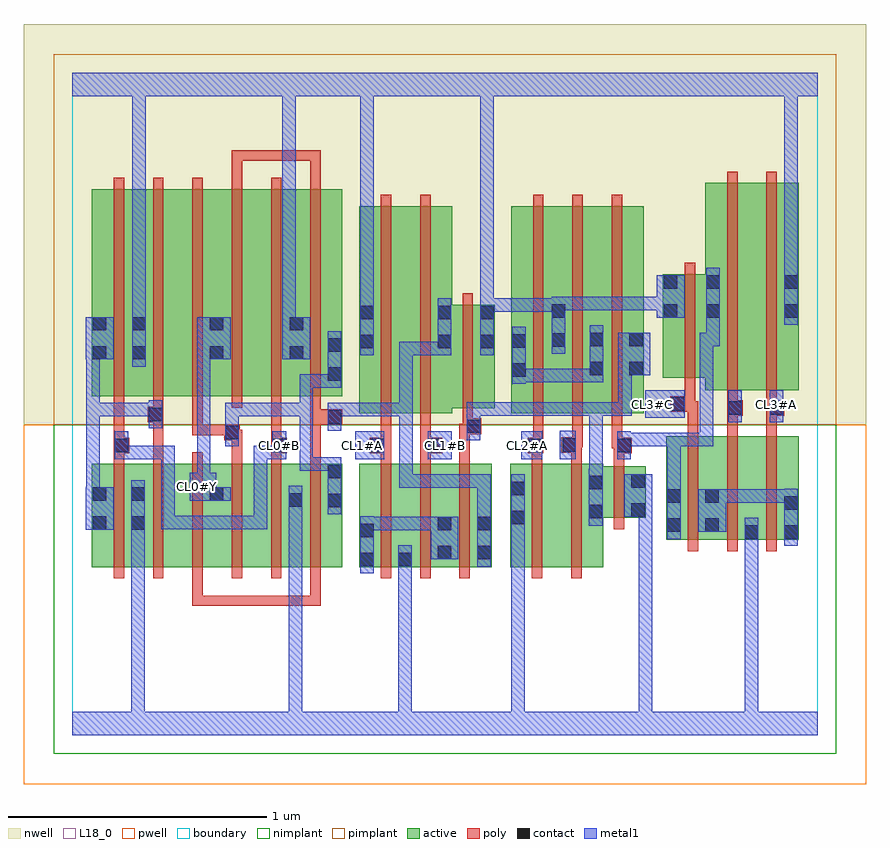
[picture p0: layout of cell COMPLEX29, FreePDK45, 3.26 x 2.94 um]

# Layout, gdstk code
import gdstk
lib = gdstk.Library(unit=1e-6, precision=1e-09)
def R(c, l, rs):  # rectangles x0, y0, x1, y1
    for r in rs: c.add(gdstk.rectangle(r[:2], r[2:], *l))
def A(c, l, x, y, w, h, nx, ny, dx, dy):  # array of equal rectangles
    R(c, l, [(x+i*dx, y+j*dy, x+i*dx+w, y+j*dy+h) for i in range(nx) for j in range(ny)])
active = (1, 0)
pwell = (2, 0)
nwell = (3, 0)
nimplant = (4, 0)
pimplant = (5, 0)
poly = (9, 0)
contact = (10, 0)
metal1 = (11, 0)
L18_0 = (18, 0)
boundary = (235, 0)

complex29 = lib.new_cell('COMPLEX29')
R(complex29, active, [(0.076,0.65,0.136,1.05), (0.076,0.65,0.284,1.05), (0.224,0.65,0.284,1.05), (0.224,0.65,0.408,1.05), (0.408,0.65,0.588,1.05), (0.528,0.65,0.712,1.05), (0.712,0.65,0.892,1.05), (0.832,0.65,1.044,1.05), (0.832,0.65,0.892,0.94), (0.984,0.65,1.044,1.05), (1.108,0.65,1.168,1.05), (1.108,0.65,1.316,1.05), (1.256,0.65,1.468,1.05), (1.256,0.65,1.316,0.764), (1.408,0.65,1.62,1.05), (1.56,0.65,1.62,1.05), (1.692,0.65,1.752,1.05), (1.692,0.65,1.872,1.05), (1.872,0.65,2.052,1.05), (1.408,0.676,1.468,0.848), (1.992,0.7,2.052,1.038), (0.528,0.756,0.588,0.962), (2.294,0.756,2.354,1.156), (2.294,0.756,2.502,1.156), (2.442,0.756,2.654,1.156), (2.442,0.756,2.502,0.954), (2.594,0.756,2.806,1.156), (2.594,0.756,2.654,0.816), (2.746,0.756,2.806,1.156), (1.992,0.84,2.216,1.04), (2.156,0.84,2.216,1.04), (1.108,1.244,1.288,2.044), (1.108,1.244,1.168,2.044), (1.288,1.244,1.468,2.044), (1.696,1.244,1.756,2.044), (1.696,1.244,1.908,2.044), (1.848,1.244,1.908,2.044), (1.848,1.244,2.056,2.044), (1.996,1.244,2.056,2.044), (1.996,1.244,2.208,2.044), (2.148,1.244,2.208,2.044), (1.408,1.264,1.632,1.664), (1.572,1.264,1.632,1.664), (0.076,1.31,0.288,2.11), (0.076,1.31,0.136,2.044), (0.228,1.31,0.408,2.11), (0.408,1.31,0.588,2.11), (0.528,1.31,0.712,2.11), (0.712,1.31,0.896,2.11), (0.836,1.31,1.044,2.11), (0.984,1.31,1.044,2.044), (2.446,1.334,2.626,2.134), (2.626,1.334,2.806,2.134), (2.746,1.334,2.806,2.044), (0.228,1.338,0.288,2.11), (0.528,1.338,0.588,2.11), (1.408,1.338,1.468,1.716), (2.282,1.382,2.342,1.782), (2.282,1.382,2.506,1.782), (2.446,1.382,2.506,1.82), (0.836,1.448,0.896,2.044)])
R(complex29, pwell, [(-0.188,-0.188,3.068,1.2)])
R(complex29, nwell, [(-0.188,1.2,3.068,2.748)])
R(complex29, nimplant, [(-0.072,-0.072,2.952,1.2)])
R(complex29, pimplant, [(-0.072,1.2,2.952,2.632)])
A(complex29, poly, 0.16, 0.606, 0.04, 0.488, 6, 1, 0.152, 0)
A(complex29, poly, 1.192, 0.606, 0.04, 0.488, 3, 1, 0.152, 0)
A(complex29, poly, 2.378, 0.712, 0.04, 0.488, 3, 1, 0.152, 0)
A(complex29, poly, 1.78, 1.2, 0.04, 0.888, 3, 1, 0.152, 0)
A(complex29, poly, 0.16, 1.266, 0.04, 0.888, 6, 1, 0.152, 0)
R(complex29, poly, [(0.464,0.5,0.504,0.54), (0.464,0.5,0.504,0.54), (0.464,0.5,0.504,0.54), (0.464,0.5,0.504,0.646), (0.464,0.5,0.702,0.54), (0.662,0.5,0.702,0.54), (0.662,0.5,0.808,0.54), (0.768,0.5,0.808,0.54), (0.768,0.5,0.808,0.54), (0.768,0.5,0.808,0.54), (0.768,0.5,0.96,0.54), (0.92,0.5,0.96,0.54), (0.92,0.5,0.96,0.54), (0.92,0.5,0.96,0.54), (0.92,0.5,0.96,0.646), (1.776,0.606,1.816,1.094), (1.928,0.606,1.968,1.094), (2.092,0.796,2.132,1.084), (2.092,1.044,2.132,1.13), (0.16,1.054,0.2,1.13), (0.312,1.054,0.352,1.25), (0.616,1.054,0.656,1.18), (0.768,1.054,0.808,1.13), (0.92,1.054,0.96,1.24), (1.192,1.054,1.232,1.13), (1.344,1.054,1.384,1.13), (1.496,1.054,1.536,1.204), (1.776,1.054,1.816,1.13), (1.928,1.054,1.968,1.132), (0.16,1.09,0.22,1.15), (0.768,1.09,0.828,1.15), (1.15,1.09,1.232,1.15), (1.344,1.09,1.384,1.13), (1.344,1.09,1.384,1.13), (1.344,1.09,1.43,1.15), (1.76,1.09,1.82,1.15), (2.092,1.09,2.162,1.15), (1.89,1.092,1.968,1.152), (0.16,1.11,0.2,1.15), (0.16,1.11,0.2,1.15), (0.16,1.11,0.2,1.306), (0.768,1.11,0.808,1.15), (0.768,1.11,0.808,1.15), (0.768,1.11,0.808,1.306), (1.192,1.11,1.232,1.15), (1.192,1.11,1.232,1.15), (1.192,1.11,1.232,1.24), (1.344,1.11,1.384,1.24), (1.78,1.11,1.82,1.15), (1.78,1.11,1.82,1.15), (1.78,1.11,1.82,1.24), (2.084,1.11,2.124,1.24), (2.084,1.11,2.132,1.15), (2.092,1.11,2.132,1.15), (1.928,1.112,1.968,1.152), (1.928,1.112,1.972,1.152), (1.932,1.112,1.972,1.24), (0.588,1.14,0.648,1.2), (0.608,1.14,0.648,1.18), (0.608,1.14,0.656,1.18), (0.464,1.16,0.504,1.2), (0.464,1.16,0.504,1.2), (0.464,1.16,0.504,1.2), (0.464,1.16,0.504,1.306), (0.464,1.16,0.628,1.2), (2.378,1.16,2.418,1.29), (2.53,1.16,2.57,1.274), (2.682,1.16,2.722,1.274), (1.496,1.164,1.548,1.204), (1.508,1.164,1.548,1.204), (1.508,1.164,1.58,1.224), (1.508,1.184,1.548,1.26), (0.92,1.2,0.96,1.24), (0.92,1.2,0.96,1.24), (0.92,1.2,1.044,1.26), (1.192,1.2,1.232,2.088), (1.344,1.2,1.384,2.088), (0.292,1.21,0.352,1.27), (0.312,1.21,0.352,1.25), (0.312,1.21,0.352,1.25), (0.92,1.22,0.96,1.306), (1.508,1.22,1.548,1.708), (0.312,1.23,0.352,1.306), (2.53,1.234,2.59,1.294), (2.682,1.234,2.722,1.274), (2.682,1.234,2.722,1.274), (2.682,1.234,2.75,1.294), (2.31,1.25,2.406,1.31), (2.366,1.25,2.406,1.29), (2.366,1.25,2.418,1.29), (2.53,1.254,2.57,1.33), (2.53,1.254,2.57,1.294), (2.53,1.254,2.57,1.294), (2.682,1.254,2.722,1.33), (2.366,1.27,2.406,1.378), (2.53,1.29,2.57,2.178), (2.682,1.29,2.722,2.178), (2.366,1.338,2.406,1.826), (0.616,2.114,0.656,2.26), (0.92,2.114,0.96,2.26), (0.616,2.22,0.656,2.26), (0.616,2.22,0.656,2.26), (0.616,2.22,0.656,2.26), (0.616,2.22,0.854,2.26), (0.814,2.22,0.854,2.26), (0.814,2.22,0.96,2.26), (0.92,2.22,0.96,2.26), (0.92,2.22,0.96,2.26), (0.92,2.22,0.96,2.26)])
R(complex29, contact, [(1.112,0.654,1.164,0.706), (1.26,0.654,1.312,0.706), (1.412,0.68,1.464,0.732), (1.564,0.68,1.616,0.732), (2.598,0.76,2.65,0.812), (2.75,0.76,2.802,0.812), (1.112,0.766,1.164,0.818), (2.298,0.786,2.35,0.838), (2.446,0.786,2.498,0.838), (1.412,0.792,1.464,0.844), (1.564,0.792,1.616,0.844), (0.08,0.794,0.132,0.846), (0.228,0.794,0.28,0.846), (1.696,0.816,1.748,0.868), (1.996,0.838,2.048,0.89), (2.16,0.844,2.212,0.896), (2.75,0.872,2.802,0.924), (0.988,0.882,1.04,0.934), (0.836,0.884,0.888,0.936), (2.298,0.898,2.35,0.95), (2.446,0.898,2.498,0.95), (0.08,0.906,0.132,0.958), (0.228,0.906,0.28,0.958), (0.532,0.906,0.584,0.958), (1.696,0.928,1.748,0.98), (1.996,0.95,2.048,1.002), (2.16,0.956,2.212,1.008), (0.988,0.994,1.04,1.046), (0.164,1.094,0.216,1.146), (0.772,1.094,0.824,1.146), (1.154,1.094,1.206,1.146), (1.374,1.094,1.426,1.146), (1.764,1.094,1.816,1.146), (2.106,1.094,2.158,1.146), (1.894,1.096,1.946,1.148), (0.592,1.144,0.644,1.196), (1.524,1.168,1.576,1.22), (0.988,1.204,1.04,1.256), (0.296,1.214,0.348,1.266), (2.534,1.238,2.586,1.29), (2.694,1.238,2.746,1.29), (2.314,1.254,2.366,1.306), (0.988,1.37,1.04,1.422), (1.7,1.386,1.752,1.438), (2,1.392,2.052,1.444), (2.152,1.392,2.204,1.444), (0.08,1.452,0.132,1.504), (0.232,1.452,0.284,1.504), (0.532,1.452,0.584,1.504), (0.84,1.452,0.892,1.504), (0.988,1.482,1.04,1.534), (1.112,1.496,1.164,1.548), (1.412,1.496,1.464,1.548), (1.576,1.496,1.628,1.548), (1.7,1.498,1.752,1.55), (1.852,1.502,1.904,1.554), (2,1.504,2.052,1.556), (2.152,1.504,2.204,1.556), (0.08,1.564,0.132,1.616), (0.232,1.564,0.284,1.616), (0.532,1.564,0.584,1.616), (0.84,1.564,0.892,1.616), (1.112,1.608,1.164,1.66), (1.412,1.608,1.464,1.66), (1.576,1.608,1.628,1.66), (1.852,1.614,1.904,1.666), (2.286,1.614,2.338,1.666), (2.45,1.614,2.502,1.666), (2.75,1.614,2.802,1.666), (2.286,1.726,2.338,1.778), (2.45,1.726,2.502,1.778), (2.75,1.726,2.802,1.778)])
R(complex29, metal1, [(0,0,2.88,0.092), (0.228,0.04,0.28,0.092), (0.228,0.04,0.28,0.092), (0.228,0.04,0.28,0.092), (0.228,0.04,0.28,0.092), (0.228,0.04,0.28,0.092), (0.228,0.04,0.28,0.092), (0.228,0.04,0.28,0.092), (0.228,0.04,0.28,0.092), (0.228,0.04,0.28,0.818), (0.836,0.04,0.888,0.092), (0.836,0.04,0.888,0.092), (0.836,0.04,0.888,0.092), (0.836,0.04,0.888,0.092), (0.836,0.04,0.888,0.092), (0.836,0.04,0.888,0.092), (0.836,0.04,0.888,0.908), (1.26,0.04,1.312,0.678), (1.696,0.04,1.748,0.092), (1.696,0.04,1.748,0.092), (1.696,0.04,1.748,0.84), (2.188,0.04,2.24,0.092), (2.188,0.04,2.24,0.092), (2.188,0.04,2.24,0.896), (2.598,0.04,2.65,0.092), (2.598,0.04,2.65,0.092), (2.598,0.04,2.65,0.092), (2.598,0.04,2.65,0.092), (2.598,0.04,2.65,0.092), (2.598,0.04,2.65,0.092), (2.598,0.04,2.65,0.092), (2.598,0.04,2.65,0.092), (2.598,0.04,2.65,0.092), (2.598,0.04,2.65,0.092), (2.598,0.04,2.65,0.092), (2.598,0.04,2.65,0.092), (2.598,0.04,2.65,0.784), (1.112,0.626,1.164,0.846), (1.26,0.626,1.312,0.678), (1.26,0.626,1.312,0.678), (1.26,0.626,1.312,0.678), (1.26,0.626,1.312,0.678), (1.26,0.626,1.312,0.678), (1.26,0.626,1.312,0.678), (1.26,0.626,1.312,0.678), (1.26,0.626,1.312,0.678), (1.26,0.626,1.312,0.678), (1.26,0.626,1.312,0.678), (1.26,0.626,1.312,0.678), (1.26,0.626,1.312,0.678), (1.26,0.626,1.312,0.734), (1.564,0.652,1.616,0.872), (1.384,0.68,1.492,0.844), (2.598,0.732,2.65,0.84), (2.75,0.732,2.802,0.952), (2.298,0.758,2.35,0.978), (0.228,0.766,0.28,0.818), (0.228,0.766,0.28,0.818), (0.228,0.766,0.28,0.818), (0.228,0.766,0.28,0.818), (0.228,0.766,0.28,0.986), (2.418,0.786,2.526,0.95), (1.696,0.788,1.748,0.84), (1.696,0.788,1.748,0.84), (1.696,0.788,1.748,0.84), (1.696,0.788,1.748,0.84), (1.696,0.788,1.748,0.84), (1.696,0.788,1.748,0.84), (1.696,0.788,1.748,0.84), (1.696,0.788,1.748,0.84), (1.696,0.788,1.748,0.84), (1.696,0.788,1.748,0.84), (1.696,0.788,1.748,1.008), (1.112,0.792,1.164,0.844), (1.112,0.792,1.164,0.844), (1.112,0.792,1.326,0.844), (1.274,0.792,1.326,0.844), (1.274,0.792,1.326,0.844), (1.274,0.792,1.326,0.844), (1.274,0.792,1.436,0.844), (0.052,0.794,0.16,0.958), (0.344,0.796,0.396,0.848), (0.344,0.796,0.396,1.118), (0.344,0.796,0.534,0.848), (0.482,0.796,0.534,0.848), (0.482,0.796,0.534,0.848), (0.482,0.796,0.534,0.848), (0.482,0.796,0.714,0.848), (0.662,0.796,0.714,0.848), (0.662,0.796,0.754,0.848), (0.702,0.796,0.754,0.848), (0.702,0.796,0.754,1.118), (1.996,0.81,2.05,1.03), (1.564,0.82,1.616,1.008), (2.132,0.844,2.24,1.008), (2.188,0.844,2.24,0.896), (2.188,0.844,2.24,0.896), (2.188,0.844,2.24,0.896), (2.188,0.844,2.24,0.896), (2.188,0.844,2.24,0.896), (2.188,0.844,2.24,0.896), (2.188,0.844,2.24,0.896), (2.188,0.844,2.24,0.896), (2.188,0.844,2.24,0.896), (2.188,0.844,2.24,0.896), (2.188,0.844,2.24,0.896), (2.188,0.844,2.24,0.896), (2.188,0.844,2.24,0.896), (2.188,0.844,2.24,0.896), (0.988,0.854,1.04,1.074), (0.836,0.856,0.888,0.908), (0.836,0.856,0.888,0.908), (0.836,0.856,0.888,0.908), (0.836,0.856,0.888,0.908), (0.836,0.856,0.888,0.908), (0.836,0.856,0.888,0.908), (0.836,0.856,0.888,0.964), (2.474,0.898,2.636,0.95), (2.584,0.898,2.636,0.95), (2.584,0.898,2.636,0.95), (2.584,0.898,2.636,0.95), (2.584,0.898,2.802,0.95), (2.75,0.898,2.802,0.95), (2.75,0.898,2.802,0.95), (0.054,0.906,0.106,1.284), (0.454,0.906,0.556,1.014), (0.504,0.906,0.556,0.958), (0.504,0.906,0.612,0.958), (2.298,0.926,2.35,1.168), (1.264,0.956,1.316,1.008), (1.264,0.956,1.316,1.008), (1.264,0.956,1.316,1.008), (1.264,0.956,1.466,1.008), (1.264,0.956,1.316,1.284), (1.414,0.956,1.466,1.008), (1.414,0.956,1.466,1.008), (1.414,0.956,1.466,1.008), (1.414,0.956,1.616,1.008), (1.564,0.956,1.616,1.008), (0.482,0.962,0.534,1.014), (0.482,0.962,0.534,1.014), (0.482,0.962,0.534,1.504), (1.998,0.978,2.05,1.03), (1.998,0.978,2.05,1.03), (1.998,0.978,2.05,1.286), (0.878,1.022,0.93,1.074), (0.878,1.022,1.04,1.074), (0.878,1.022,0.93,1.284), (0.988,1.022,1.04,1.074), (0.988,1.022,1.04,1.074), (0.164,1.066,0.216,1.118), (0.164,1.066,0.216,1.118), (0.164,1.066,0.216,1.174), (0.164,1.066,0.396,1.118), (0.344,1.066,0.396,1.118), (0.344,1.066,0.396,1.118), (0.344,1.066,0.396,1.118), (0.344,1.066,0.396,1.118), (0.344,1.066,0.396,1.118), (0.702,1.066,0.754,1.118), (0.702,1.066,0.754,1.118), (0.702,1.066,0.754,1.118), (0.702,1.066,0.824,1.118), (0.772,1.066,0.826,1.174), (1.094,1.066,1.206,1.174), (1.374,1.066,1.466,1.174), (1.734,1.066,1.816,1.174), (1.884,1.066,1.946,1.176), (2.106,1.066,2.158,1.174), (0.592,1.116,0.644,1.228), (2.106,1.116,2.158,1.168), (2.106,1.116,2.158,1.168), (2.106,1.116,2.35,1.168), (2.298,1.116,2.35,1.168), (2.298,1.116,2.35,1.168), (2.298,1.116,2.35,1.168), (2.298,1.116,2.476,1.168), (2.424,1.116,2.476,1.168), (2.424,1.116,2.476,1.556), (1.524,1.14,1.576,1.248), (0.592,1.176,0.644,1.228), (0.592,1.176,0.644,1.284), (0.988,1.176,1.04,1.284), (0.296,1.186,0.348,1.294), (1.524,1.196,1.576,1.248), (1.524,1.196,1.576,1.286), (2.534,1.21,2.586,1.334), (2.694,1.21,2.746,1.334), (2.214,1.226,2.366,1.334), (0.054,1.232,0.106,1.284), (0.054,1.232,0.106,1.284), (0.054,1.232,0.106,1.284), (0.054,1.232,0.238,1.284), (0.054,1.232,0.106,1.504), (0.186,1.232,0.238,1.284), (0.186,1.232,0.238,1.284), (0.186,1.232,0.238,1.284), (0.186,1.232,0.348,1.284), (0.592,1.232,0.826,1.284), (0.774,1.232,0.826,1.284), (0.774,1.232,0.93,1.284), (0.878,1.232,0.93,1.284), (0.878,1.232,0.93,1.284), (0.878,1.232,0.93,1.284), (0.878,1.232,0.93,1.394), (0.988,1.232,1.04,1.284), (0.988,1.232,1.04,1.284), (0.988,1.232,1.15,1.284), (1.098,1.232,1.15,1.284), (1.098,1.232,1.15,1.284), (1.098,1.232,1.15,1.284), (1.098,1.232,1.316,1.284), (1.264,1.232,1.316,1.284), (1.264,1.232,1.316,1.52), (1.524,1.234,1.794,1.286), (1.742,1.234,1.794,1.286), (1.742,1.234,1.794,1.286), (1.742,1.234,1.794,1.286), (1.742,1.234,1.936,1.286), (1.884,1.234,1.936,1.286), (1.884,1.234,1.936,1.286), (1.884,1.234,1.936,1.286), (1.884,1.234,2.05,1.286), (1.998,1.234,2.05,1.286), (1.998,1.234,2.156,1.286), (2.104,1.234,2.156,1.286), (2.104,1.234,2.162,1.286), (2.11,1.234,2.162,1.286), (2.11,1.234,2.162,1.444), (0.878,1.342,0.93,1.394), (0.878,1.342,0.936,1.394), (0.884,1.342,0.936,1.394), (0.884,1.342,1.04,1.394), (0.988,1.342,1.04,1.562), (1.7,1.358,1.752,1.578), (1.7,1.364,1.752,1.416), (1.7,1.364,1.752,1.416), (1.7,1.364,1.936,1.416), (1.884,1.364,1.936,1.416), (1.884,1.364,1.936,1.416), (1.884,1.364,1.936,1.416), (1.884,1.364,2.052,1.416), (2,1.364,2.052,1.584), (2.11,1.392,2.232,1.556), (0.232,1.424,0.284,1.644), (0.052,1.452,0.16,1.616), (0.482,1.452,0.612,1.616), (0.812,1.452,0.92,1.616), (1.112,1.468,1.164,1.688), (1.264,1.468,1.316,1.52), (1.264,1.468,1.316,1.52), (1.264,1.468,1.316,1.52), (1.264,1.468,1.464,1.52), (1.412,1.468,1.464,1.688), (1.576,1.468,1.628,1.688), (1.852,1.474,1.904,1.694), (2.424,1.504,2.502,1.556), (2.45,1.504,2.502,1.638), (0.812,1.564,0.864,1.616), (0.812,1.564,0.864,1.616), (0.812,1.564,0.864,2.52), (2.45,1.586,2.502,1.806), (2.75,1.586,2.802,1.806), (0.232,1.592,0.284,1.644), (0.232,1.592,0.284,1.644), (0.232,1.592,0.284,1.644), (0.232,1.592,0.284,1.644), (0.232,1.592,0.284,2.52), (2.258,1.614,2.366,1.778), (1.112,1.636,1.164,1.688), (1.112,1.636,1.164,1.688), (1.112,1.636,1.164,1.688), (1.112,1.636,1.164,1.688), (1.112,1.636,1.164,1.688), (1.112,1.636,1.164,1.688), (1.112,1.636,1.164,1.688), (1.112,1.636,1.164,1.688), (1.112,1.636,1.164,2.52), (1.576,1.636,1.628,1.688), (1.576,1.636,1.628,1.688), (1.576,1.636,1.628,1.688), (1.576,1.636,1.628,1.688), (1.576,1.636,1.628,1.688), (1.576,1.636,1.628,1.688), (1.576,1.636,1.628,1.688), (1.576,1.636,1.628,1.688), (1.576,1.636,1.628,1.688), (1.576,1.636,1.628,1.688), (1.576,1.636,1.628,1.688), (1.576,1.636,1.628,1.688), (1.576,1.636,1.628,1.688), (1.576,1.636,1.628,1.688), (1.576,1.636,1.738,1.688), (1.576,1.636,1.628,2.52), (1.686,1.636,1.738,1.688), (1.686,1.636,1.738,1.688), (1.686,1.636,1.738,1.688), (1.686,1.636,1.904,1.688), (1.852,1.642,2.046,1.694), (1.994,1.642,2.046,1.694), (1.994,1.642,2.046,1.694), (1.994,1.642,2.046,1.694), (1.994,1.642,2.158,1.694), (2.106,1.642,2.158,1.694), (2.106,1.642,2.158,1.694), (2.106,1.642,2.158,1.694), (2.106,1.642,2.31,1.694), (2.75,1.754,2.802,2.52), (2.75,1.754,2.802,1.806), (2.75,1.754,2.802,1.806), (2.75,1.754,2.802,1.806), (2.75,1.754,2.802,1.806), (2.75,1.754,2.802,1.806), (2.75,1.754,2.802,1.806), (0,2.468,2.88,2.56), (0.232,2.468,0.284,2.52), (0.232,2.468,0.284,2.52), (0.232,2.468,0.284,2.52), (0.232,2.468,0.284,2.52), (0.812,2.468,0.864,2.52), (0.812,2.468,0.864,2.52), (0.812,2.468,0.864,2.52), (0.812,2.468,0.864,2.52), (0.812,2.468,0.864,2.52), (0.812,2.468,0.864,2.52), (1.576,2.468,1.628,2.52), (1.576,2.468,1.628,2.52), (2.75,2.468,2.802,2.52), (2.75,2.468,2.802,2.52)])
A(complex29, L18_0, 0.774, 1.094, 0.052, 0.052, 4, 1, 0.32, 0)
R(complex29, L18_0, [(0,0,2.88,0.092), (0.228,0.04,0.28,0.092), (0.228,0.04,0.28,0.092), (0.228,0.04,0.28,0.092), (0.228,0.04,0.28,0.092), (0.228,0.04,0.28,0.092), (0.228,0.04,0.28,0.092), (0.228,0.04,0.28,0.092), (0.228,0.04,0.28,0.092), (0.228,0.04,0.28,0.818), (0.836,0.04,0.888,0.092), (0.836,0.04,0.888,0.092), (0.836,0.04,0.888,0.092), (0.836,0.04,0.888,0.092), (0.836,0.04,0.888,0.092), (0.836,0.04,0.888,0.092), (0.836,0.04,0.888,0.908), (1.26,0.04,1.312,0.678), (1.696,0.04,1.748,0.092), (1.696,0.04,1.748,0.092), (1.696,0.04,1.748,0.84), (2.188,0.04,2.24,0.092), (2.188,0.04,2.24,0.092), (2.188,0.04,2.24,0.896), (2.598,0.04,2.65,0.092), (2.598,0.04,2.65,0.092), (2.598,0.04,2.65,0.092), (2.598,0.04,2.65,0.092), (2.598,0.04,2.65,0.092), (2.598,0.04,2.65,0.092), (2.598,0.04,2.65,0.092), (2.598,0.04,2.65,0.092), (2.598,0.04,2.65,0.092), (2.598,0.04,2.65,0.092), (2.598,0.04,2.65,0.092), (2.598,0.04,2.65,0.092), (2.598,0.04,2.65,0.784), (1.26,0.626,1.312,0.734), (1.26,0.626,1.312,0.678), (1.26,0.626,1.312,0.678), (1.26,0.626,1.312,0.678), (1.26,0.626,1.312,0.678), (1.26,0.626,1.312,0.678), (1.26,0.626,1.312,0.678), (1.26,0.626,1.312,0.678), (1.26,0.626,1.312,0.678), (1.26,0.626,1.312,0.678), (1.26,0.626,1.312,0.678), (1.26,0.626,1.312,0.678), (1.26,0.626,1.312,0.678), (2.598,0.732,2.65,0.84), (0.228,0.766,0.28,0.818), (0.228,0.766,0.28,0.818), (0.228,0.766,0.28,0.818), (0.228,0.766,0.28,0.818), (0.228,0.766,0.28,0.986), (1.696,0.788,1.748,0.84), (1.696,0.788,1.748,0.84), (1.696,0.788,1.748,0.84), (1.696,0.788,1.748,0.84), (1.696,0.788,1.748,0.84), (1.696,0.788,1.748,0.84), (1.696,0.788,1.748,0.84), (1.696,0.788,1.748,0.84), (1.696,0.788,1.748,0.84), (1.696,0.788,1.748,0.84), (1.696,0.788,1.748,1.008), (0.344,0.796,0.396,0.848), (0.344,0.796,0.396,1.118), (0.344,0.796,0.534,0.848), (0.482,0.796,0.534,0.848), (0.482,0.796,0.534,0.848), (0.482,0.796,0.534,0.848), (0.482,0.796,0.714,0.848), (0.662,0.796,0.714,0.848), (0.662,0.796,0.754,0.848), (0.702,0.796,0.754,0.848), (0.702,0.796,0.754,1.118), (2.132,0.844,2.24,1.008), (2.188,0.844,2.24,0.896), (2.188,0.844,2.24,0.896), (2.188,0.844,2.24,0.896), (2.188,0.844,2.24,0.896), (2.188,0.844,2.24,0.896), (2.188,0.844,2.24,0.896), (2.188,0.844,2.24,0.896), (2.188,0.844,2.24,0.896), (2.188,0.844,2.24,0.896), (2.188,0.844,2.24,0.896), (2.188,0.844,2.24,0.896), (2.188,0.844,2.24,0.896), (2.188,0.844,2.24,0.896), (2.188,0.844,2.24,0.896), (0.836,0.856,0.888,0.964), (0.836,0.856,0.888,0.908), (0.836,0.856,0.888,0.908), (0.836,0.856,0.888,0.908), (0.836,0.856,0.888,0.908), (0.836,0.856,0.888,0.908), (0.836,0.856,0.888,0.908), (0.454,0.906,0.556,1.014), (0.504,0.906,0.556,0.958), (0.504,0.906,0.612,0.958), (0.454,0.934,0.506,0.986), (0.482,0.962,0.534,1.014), (0.482,0.962,0.534,1.014), (0.482,0.962,0.534,1.504), (0.164,1.066,0.216,1.174), (0.164,1.066,0.216,1.118), (0.164,1.066,0.216,1.118), (0.164,1.066,0.396,1.118), (0.344,1.066,0.396,1.118), (0.344,1.066,0.396,1.118), (0.344,1.066,0.396,1.118), (0.344,1.066,0.396,1.118), (0.344,1.066,0.396,1.118), (0.702,1.066,0.754,1.118), (0.702,1.066,0.754,1.118), (0.702,1.066,0.754,1.118), (0.702,1.066,0.824,1.118), (0.772,1.066,0.826,1.174), (1.094,1.066,1.206,1.174), (1.374,1.066,1.466,1.174), (1.734,1.066,1.816,1.174), (1.884,1.066,1.946,1.176), (1.894,1.094,1.946,1.146), (2.534,1.21,2.586,1.334), (2.694,1.21,2.746,1.334), (2.214,1.226,2.366,1.334), (2.214,1.254,2.266,1.306), (2.534,1.254,2.586,1.306), (2.694,1.254,2.746,1.306), (0.232,1.424,0.284,1.644), (0.482,1.452,0.612,1.616), (0.812,1.452,0.92,1.616), (1.112,1.468,1.164,1.688), (1.576,1.468,1.628,1.688), (1.852,1.474,1.904,1.694), (0.812,1.564,0.864,1.616), (0.812,1.564,0.864,1.616), (0.812,1.564,0.864,2.52), (2.75,1.586,2.802,1.806), (0.232,1.592,0.284,1.644), (0.232,1.592,0.284,1.644), (0.232,1.592,0.284,1.644), (0.232,1.592,0.284,1.644), (0.232,1.592,0.284,2.52), (2.258,1.614,2.366,1.778), (1.112,1.636,1.164,1.688), (1.112,1.636,1.164,1.688), (1.112,1.636,1.164,1.688), (1.112,1.636,1.164,1.688), (1.112,1.636,1.164,1.688), (1.112,1.636,1.164,1.688), (1.112,1.636,1.164,1.688), (1.112,1.636,1.164,1.688), (1.112,1.636,1.164,2.52), (1.576,1.636,1.628,1.688), (1.576,1.636,1.628,1.688), (1.576,1.636,1.628,1.688), (1.576,1.636,1.628,1.688), (1.576,1.636,1.628,1.688), (1.576,1.636,1.628,1.688), (1.576,1.636,1.628,1.688), (1.576,1.636,1.628,1.688), (1.576,1.636,1.628,1.688), (1.576,1.636,1.628,1.688), (1.576,1.636,1.628,1.688), (1.576,1.636,1.628,1.688), (1.576,1.636,1.628,1.688), (1.576,1.636,1.628,1.688), (1.576,1.636,1.628,2.52), (1.576,1.636,1.738,1.688), (1.686,1.636,1.738,1.688), (1.686,1.636,1.738,1.688), (1.686,1.636,1.738,1.688), (1.686,1.636,1.904,1.688), (1.852,1.642,2.046,1.694), (1.994,1.642,2.046,1.694), (1.994,1.642,2.046,1.694), (1.994,1.642,2.046,1.694), (1.994,1.642,2.158,1.694), (2.106,1.642,2.158,1.694), (2.106,1.642,2.158,1.694), (2.106,1.642,2.158,1.694), (2.106,1.642,2.31,1.694), (2.75,1.754,2.802,1.806), (2.75,1.754,2.802,1.806), (2.75,1.754,2.802,1.806), (2.75,1.754,2.802,1.806), (2.75,1.754,2.802,1.806), (2.75,1.754,2.802,1.806), (2.75,1.754,2.802,2.52), (0,2.468,2.88,2.56), (0.232,2.468,0.284,2.52), (0.232,2.468,0.284,2.52), (0.232,2.468,0.284,2.52), (0.232,2.468,0.284,2.52), (0.812,2.468,0.864,2.52), (0.812,2.468,0.864,2.52), (0.812,2.468,0.864,2.52), (0.812,2.468,0.864,2.52), (0.812,2.468,0.864,2.52), (0.812,2.468,0.864,2.52), (1.576,2.468,1.628,2.52), (1.576,2.468,1.628,2.52), (2.75,2.468,2.802,2.52), (2.75,2.468,2.802,2.52)])
R(complex29, boundary, [(0,0,2.88,2.56)])
complex29.add(gdstk.Label('CL0#B', (0.8,1.12), layer=11, texttype=0))
complex29.add(gdstk.Label('CL0#Y', (0.48,0.96), layer=11, texttype=0))
complex29.add(gdstk.Label('CL1#A', (1.12,1.12), layer=11, texttype=0))
complex29.add(gdstk.Label('CL1#B', (1.44,1.12), layer=11, texttype=0))
complex29.add(gdstk.Label('CL2#A', (1.76,1.12), layer=11, texttype=0))
complex29.add(gdstk.Label('CL2#B', (1.92,1.12), layer=11, texttype=0))
complex29.add(gdstk.Label('CL3#A', (2.72,1.28), layer=11, texttype=0))
complex29.add(gdstk.Label('CL3#B', (2.56,1.28), layer=11, texttype=0))
complex29.add(gdstk.Label('CL3#C', (2.24,1.28), layer=11, texttype=0))

lib.write_gds('COMPLEX29.gds')
